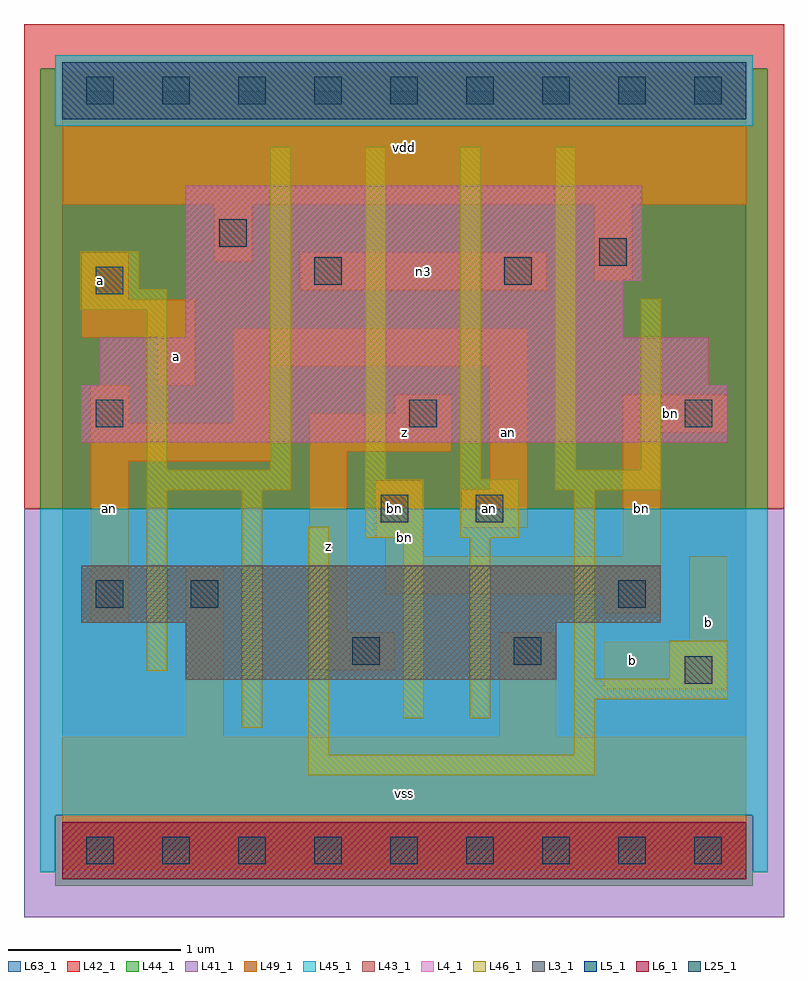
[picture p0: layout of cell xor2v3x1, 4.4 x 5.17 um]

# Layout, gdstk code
import gdstk
lib = gdstk.Library(unit=1e-6, precision=1e-09)
def R(c, l, rs):  # rectangles x0, y0, x1, y1
    for r in rs: c.add(gdstk.rectangle(r[:2], r[2:], *l))
def A(c, l, x, y, w, h, nx, ny, dx, dy):  # array of equal rectangles
    R(c, l, [(x+i*dx, y+j*dy, x+i*dx+w, y+j*dy+h) for i in range(nx) for j in range(ny)])
L3_1 = (3, 1)
L4_1 = (4, 1)
L5_1 = (5, 1)
L6_1 = (6, 1)
L25_1 = (25, 1)
L41_1 = (41, 1)
L42_1 = (42, 1)
L43_1 = (43, 1)
L44_1 = (44, 1)
L45_1 = (45, 1)
L46_1 = (46, 1)
L49_1 = (49, 1)
L63_1 = (63, 1)

xor2v3x1 = lib.new_cell('xor2v3x1')
R(xor2v3x1, L3_1, [(0.715,0.99,2.86,1.32), (0.11,1.32,3.465,1.65)])
R(xor2v3x1, L4_1, [(0.11,2.365,3.85,2.695), (0.22,2.695,3.74,2.97), (0.715,2.97,3.245,3.3), (0.715,3.3,3.355,3.85)])
R(xor2v3x1, L5_1, [(0,4.235,3.96,4.565)])
R(xor2v3x1, L6_1, [(0,-0.165,3.96,0.165)])
A(xor2v3x1, L25_1, 0.14, -0.08, 0.16, 0.16, 9, 2, 0.44, 4.4)
R(xor2v3x1, L25_1, [(3.605,0.965,3.765,1.125), (1.68,1.075,1.84,1.235), (2.615,1.075,2.775,1.235), (0.195,1.405,0.355,1.565), (0.745,1.405,0.905,1.565), (3.22,1.405,3.38,1.565), (1.845,1.9,2.005,2.06), (2.395,1.9,2.555,2.06), (0.195,2.45,0.355,2.61), (2.01,2.45,2.17,2.61), (3.605,2.45,3.765,2.61), (0.195,3.22,0.355,3.38), (1.46,3.275,1.62,3.435), (2.56,3.275,2.72,3.435), (3.11,3.385,3.27,3.545), (0.91,3.495,1.07,3.655)])
R(xor2v3x1, L41_1, [(-0.22,-0.385,4.18,1.98)])
R(xor2v3x1, L42_1, [(-0.22,1.98,4.18,4.785)])
R(xor2v3x1, L43_1, [(0,-0.165,3.96,0.165), (0.715,0.99,2.86,1.32), (0.11,1.32,3.465,1.65), (0.11,2.365,3.85,2.695), (0.22,2.695,3.74,2.97), (0.715,2.97,3.245,3.3), (0.715,3.3,3.355,3.85), (0,4.235,3.96,4.565)])
R(xor2v3x1, L44_1, [(-0.04,-0.205,4,0.205), (-0.125,1.98,4.085,4.195), (-0.125,4.195,-0.04,4.525), (4,4.195,4.085,4.525)])
R(xor2v3x1, L45_1, [(-0.125,-0.125,-0.04,0.205), (4,-0.125,4.085,0.205), (-0.125,0.205,4.085,1.98), (-0.04,4.195,4,4.605)])
R(xor2v3x1, L46_1, [(1.425,0.435,3.085,0.555), (1.425,0.555,1.545,1.875), (2.965,0.555,3.085,0.875), (1.04,0.71,1.16,2.085), (1.975,0.765,2.095,1.81), (2.36,0.765,2.48,1.81), (2.965,0.875,3.855,0.995), (2.965,0.995,3.085,2.085), (3.515,0.995,3.855,1.215), (0.49,1.04,0.61,2.085), (1.755,1.81,2.095,2.15), (2.305,1.81,2.645,2.15), (0.49,2.085,1.325,2.205), (2.855,2.085,3.47,2.205), (1.755,2.15,1.875,4.075), (2.305,2.15,2.425,4.075), (0.49,2.205,0.61,3.13), (1.205,2.205,1.325,4.075), (2.855,2.205,2.975,4.075), (3.35,2.205,3.47,3.195), (0.105,3.13,0.61,3.25), (0.105,3.25,0.445,3.47)])
R(xor2v3x1, L49_1, [(0,-0.11,3.96,0.66), (0.715,0.66,0.935,1.65), (2.53,0.66,2.86,1.265), (3.135,0.935,3.85,1.21), (1.43,1.045,1.925,1.265), (3.63,1.21,3.85,1.705), (1.43,1.265,1.65,2.31), (0.165,1.32,0.385,2.255), (3.135,1.375,3.465,1.485), (1.87,1.485,3.465,1.705), (1.87,1.705,2.09,1.815), (3.245,1.705,3.465,2.42), (1.815,1.815,2.09,2.145), (2.31,1.87,2.695,2.09), (2.475,2.09,2.695,2.805), (0.165,2.255,1.21,2.475), (1.43,2.31,2.255,2.53), (3.245,2.42,3.85,2.64), (0.165,2.475,0.385,2.695), (0.99,2.475,1.21,2.805), (1.925,2.53,2.255,2.64), (0.55,2.695,0.77,2.97), (0.99,2.805,2.695,3.025), (0.11,2.97,0.77,3.19), (0.11,3.19,0.385,3.465), (1.375,3.245,2.805,3.465), (3.08,3.3,3.3,3.74), (0.88,3.41,1.1,3.74), (0,3.74,3.96,4.51)])
R(xor2v3x1, L63_1, [(0,0,3.96,4.4)])
xor2v3x1.add(gdstk.Label('bn', (1.925,1.98), layer=49, texttype=1))
xor2v3x1.add(gdstk.Label('an', (2.475,1.98), layer=49, texttype=1))
xor2v3x1.add(gdstk.Label('an', (0.275,1.98), layer=49, texttype=1))
xor2v3x1.add(gdstk.Label('a', (0.22,3.3), layer=49, texttype=1))
xor2v3x1.add(gdstk.Label('a', (0.66,2.86), layer=49, texttype=1))
xor2v3x1.add(gdstk.Label('vss', (1.98,0.33), layer=49, texttype=1))
xor2v3x1.add(gdstk.Label('bn', (1.98,1.815), layer=49, texttype=1))
xor2v3x1.add(gdstk.Label('z', (1.54,1.76), layer=49, texttype=1))
xor2v3x1.add(gdstk.Label('z', (1.98,2.42), layer=49, texttype=1))
xor2v3x1.add(gdstk.Label('vdd', (1.98,4.07), layer=49, texttype=1))
xor2v3x1.add(gdstk.Label('an', (2.585,2.42), layer=49, texttype=1))
xor2v3x1.add(gdstk.Label('n3', (2.09,3.355), layer=49, texttype=1))
xor2v3x1.add(gdstk.Label('b', (3.3,1.1), layer=49, texttype=1))
xor2v3x1.add(gdstk.Label('b', (3.74,1.32), layer=49, texttype=1))
xor2v3x1.add(gdstk.Label('bn', (3.52,2.53), layer=49, texttype=1))
xor2v3x1.add(gdstk.Label('bn', (3.355,1.98), layer=49, texttype=1))

lib.write_gds('xor2v3x1.gds')
